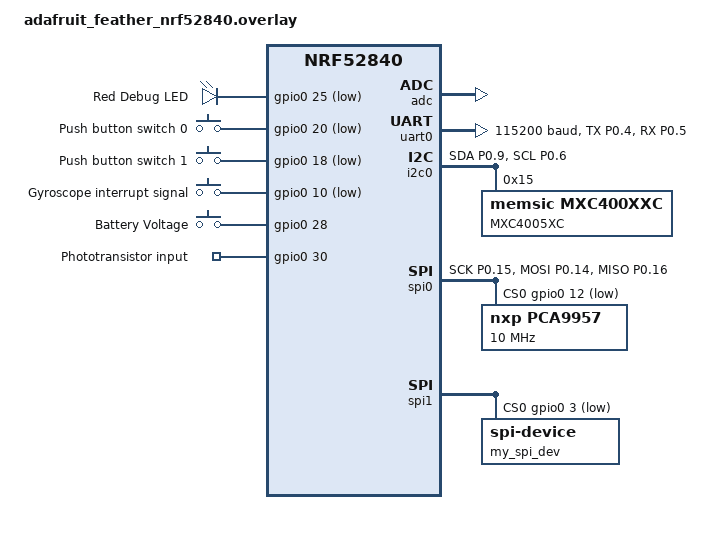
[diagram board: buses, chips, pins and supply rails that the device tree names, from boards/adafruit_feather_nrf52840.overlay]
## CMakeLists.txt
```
#
# Copyright (c) 2025 Simon Brenninger
# SPDX-License-Identifier: GPLv3
#

cmake_minimum_required(VERSION 3.20.0)

# add smartWatch board directory
list(APPEND BOARD_ROOT ${CMAKE_CURRENT_SOURCE_DIR})
message(${BOARD_ROOT})
set(BOARD smartWatch)
find_package(Zephyr REQUIRED HINTS $ENV{ZEPHYR_BASE})
project(smartWatchApp)

file(GLOB_RECURSE app_sources src/*.c)
target_sources(app PRIVATE ${app_sources})

set(CMAKE_EXPORT_COMPILE_COMMANDS ON)
```

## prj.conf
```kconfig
CONFIG_GPIO=y
CONFIG_ADC=y
CONFIG_ADC_ASYNC=y
CONFIG_NRFX_SAADC=y
CONFIG_ADC_NRFX_SAADC=y
CONFIG_I2C=y
CONFIG_SPI=y
CONFIG_COUNTER=y
#CONFIG_COUNTER_RTC0=y
CONFIG_CLOCK_CONTROL_NRF_K32SRC_XTAL=y
CONFIG_CLOCK_CONTROL_NRF_K32SRC_50PPM=y
CONFIG_LOG=y
CONFIG_PRINTK=y #y
CONFIG_TIMESLICING=n #y

CONFIG_SERIAL=y

# Power management
CONFIG_PM=n

# Interrupts

# Memory protection
#CONFIG_THREAD_STACK_INFO=n
CONFIG_THREAD_CUSTOM_DATA=n
CONFIG_FPU=n

# Boot
CONFIG_BOOT_BANNER=n
CONFIG_BOOT_DELAY=0

# Console
CONFIG_CONSOLE=y
CONFIG_UART_CONSOLE=y
CONFIG_STDOUT_CONSOLE=n
CONFIG_EARLY_CONSOLE=n

# Build
CONFIG_SIZE_OPTIMIZATIONS=y

# Multi-threading
CONFIG_NUM_PREEMPT_PRIORITIES=0
```

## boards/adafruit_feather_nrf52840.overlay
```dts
/* 
 * Copyright (c) 2023 Simon Brenninger
 *
 * SPDX-License-Identifier: GPLv3
 */

/ {
leds {
	compatible = "gpio-leds";
	led0: led0 {
		gpios = <&gpio0 25 GPIO_ACTIVE_LOW>;
		label = "Red Debug LED";
	};
};

buttons {
	compatible = "gpio-keys";
	btn0: btn0 {
		label = "Push button switch 0";
		gpios = <&gpio0 20 (GPIO_PULL_UP | GPIO_ACTIVE_LOW)>;
	};
	btn1: btn1 {
		label = "Push button switch 1";
		gpios = <&gpio0 18 (GPIO_ACTIVE_LOW)>;
	};
};

custom_pins {
	compatible = "gpio-keys";
	gyroint: gyroint {
		label = "Gyroscope interrupt signal";
		gpios = <&gpio0 10 (GPIO_ACTIVE_LOW)>;
	};
	batsens: batsens {
		label = "Battery Voltage";
		gpios = <&gpio0 28 (GPIO_ACTIVE_HIGH)>;
	};
	photo: photosens {
		label = "Phototransistor input";
		gpios = <&gpio0 30 (GPIO_ACTIVE_HIGH)>;
	};
};

aliases {
	led0 = &led0;
	sw0 = &btn0;
};
};

&adc {
	status = "okay";
};

&gpiote {
	status = "okay";
};

&gpio0 {
	status = "okay";
};

&uart0 {
	status = "okay";
	compatible = "nordic,nrf-uart";
	current-speed = <115200>;
	pinctrl-0 = <&uart0_default>;
	pinctrl-1 = <&uart0_sleep>;
	pinctrl-names = "default", "sleep";
};
 
&i2c0 {
	compatible = "nordic,nrf-twi";
	status = "okay";
	pinctrl-0 = <&i2c0_default>;
	pinctrl-1 = <&i2c0_sleep>;
	pinctrl-names = "default", "sleep";

	mxc400: mxc400@15 {
		compatible = "memsic,mxc400xxc";
		label = "MXC4005XC";
		reg = <0x15>;
	};
};

&spi0 {
	compatible = "nordic,nrf-spi";
	status = "okay";
	pinctrl-0 = <&spi0_default>;
	pinctrl-1 = <&spi0_sleep>;
	pinctrl-names = "default", "sleep";
	cs-gpios = <&gpio0 12 GPIO_ACTIVE_LOW>;
	
	pca9957: pca9957@0 {
		compatible = "nxp,pca9957";
		reg = <0>;
		spi-max-frequency = <10000000>;
	};
	
};



my_spi: &spi1 {
    compatible = "nordic,nrf-spi";
    status = "okay";
	pinctrl-0 = <&spi1_default>;
	pinctrl-1 = <&spi1_sleep>;
	cs-gpios = <&gpio0 3 GPIO_ACTIVE_LOW>;

	my_spi_dev: spi-device@0 {
		reg = <0>;
	};
};



&pinctrl {
	uart0_default: uart0_default {
		group1 {
			psels = <NRF_PSEL(UART_TX, 0, 4)>,
				<NRF_PSEL(UART_RX, 0, 5)>;
		};
	};

	uart0_sleep: uart0_sleep {
		group1 {
			psels = <NRF_PSEL(UART_TX, 0, 4)>,
				<NRF_PSEL(UART_RX, 0, 5)>;
			low-power-enable;
		};
	};

	i2c0_default: i2c0_default {
		group1 {
			psels = <NRF_PSEL(TWIM_SDA, 0, 9)>,
				<NRF_PSEL(TWIM_SCL, 0, 6)>;
		};
	};

	i2c0_sleep: i2c0_sleep {
		group1 {
			psels = <NRF_PSEL(TWIM_SDA, 0, 9)>,
				<NRF_PSEL(TWIM_SCL, 0, 6)>;
			low-power-enable;
		};
	};

	spi0_default: spi0_default {
		group1 {
			psels = <NRF_PSEL(SPIM_SCK, 0, 15)>,
				<NRF_PSEL(SPIM_MOSI, 0, 14)>,
				<NRF_PSEL(SPIM_MISO, 0, 16)>;
		};
	};

	spi0_sleep: spi0_sleep {
		group1 {
			psels = <NRF_PSEL(SPIM_SCK, 0, 15)>,
				<NRF_PSEL(SPIM_MOSI, 0, 14)>,
				<NRF_PSEL(SPIM_MISO, 0, 16)>;
			low-power-enable;
		};
	};
```

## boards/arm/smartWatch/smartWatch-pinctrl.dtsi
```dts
/*
 * Copyright (c) 2023 Simon Brenninger
 *
 * SPDX-License-Identifier: GPLv3
 */

&pinctrl {
	uart0_default: uart0_default {
		group1 {
			psels = <NRF_PSEL(UART_TX, 0, 4)>,
				<NRF_PSEL(UART_RX, 0, 5)>;
		};
	};

	uart0_sleep: uart0_sleep {
		group1 {
			psels = <NRF_PSEL(UART_TX, 0, 4)>,
				<NRF_PSEL(UART_RX, 0, 5)>;
			low-power-enable;
		};
	};

	i2c0_default: i2c0_default {
		group1 {
			psels = <NRF_PSEL(TWIM_SDA, 0, 9)>,
				<NRF_PSEL(TWIM_SCL, 0, 6)>;
		};
	};

	i2c0_sleep: i2c0_sleep {
		group1 {
			psels = <NRF_PSEL(TWIM_SDA, 0, 9)>,
				<NRF_PSEL(TWIM_SCL, 0, 6)>;
			low-power-enable;
		};
	};

	spi0_default: spi0_default {
		group1 {
			psels = <NRF_PSEL(SPIM_SCK, 0, 15)>,
				<NRF_PSEL(SPIM_MOSI, 0, 14)>,
				<NRF_PSEL(SPIM_MISO, 0, 16)>;
		};
	};

	spi0_sleep: spi0_sleep {
		group1 {
			psels = <NRF_PSEL(SPIM_SCK, 0, 15)>,
				<NRF_PSEL(SPIM_MOSI, 0, 14)>,
				<NRF_PSEL(SPIM_MISO, 0, 16)>;
			low-power-enable;
		};
	};

};
```

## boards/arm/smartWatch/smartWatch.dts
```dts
/*
 * Copyright (c) 2023 Simon Brenninger
 *
 * SPDX-License-Identifier: GPLv3
 */

/dts-v1/;
#include <nordic/nrf52810_qfaa.dtsi>
#include "smartWatch-pinctrl.dtsi"

/ {
	model = "smartWatch";
	compatible = "nordic,smartWatch";

	chosen {
		zephyr,console = &uart0;
		zephyr,shell-uart = &uart0;
		zephyr,uart-mcumgr = &uart0;
		zephyr,sram = &sram0;
		zephyr,flash = &flash0;
		zephyr,code-partition = &slot0_partition;
	};
 
	leds {
		compatible = "gpio-leds";
		led0: led0 {
			gpios = <&gpio0 25 GPIO_ACTIVE_LOW>;
			label = "Red Debug LED";
		};
	};

	buttons {
		compatible = "gpio-keys";
		btn0: btn0 {
			label = "Push button switch 0";
			gpios = <&gpio0 20 (GPIO_PULL_UP | GPIO_ACTIVE_LOW)>;
		};
		btn1: btn1 {
			label = "Push button switch 1";
			gpios = <&gpio0 18 (GPIO_ACTIVE_LOW)>;
		};
	};

	custom_pins {
		compatible = "gpio-keys";
		gyroint: gyroint {
			label = "Gyroscope interrupt signal";
			gpios = <&gpio0 10 (GPIO_ACTIVE_LOW)>;
		};
		batsens: batsens {
			label = "Battery Voltage";
			gpios = <&gpio0 28 (GPIO_ACTIVE_HIGH)>;
		};
		photo: photosens {
			label = "Phototransistor input";
			gpios = <&gpio0 30 (GPIO_ACTIVE_HIGH)>;
		};
	};

	aliases {
		led0 = &led0;
		sw0 = &btn0;
	};
};

&adc {
	status = "okay";
};

&gpiote {
	status = "okay";
};

&gpio0 {
	status = "okay";
};

&uart0 {
	status = "okay";
	compatible = "nordic,nrf-uart";
	current-speed = <115200>;
	pinctrl-0 = <&uart0_default>;
	pinctrl-1 = <&uart0_sleep>;
	pinctrl-names = "default", "sleep";
};
 
&i2c0 {
	compatible = "nordic,nrf-twi";
	status = "okay";
	pinctrl-0 = <&i2c0_default>;
	pinctrl-1 = <&i2c0_sleep>;
	pinctrl-names = "default", "sleep";

	mxc400: mxc400@15 {
		compatible = "memsic,mxc400xxc";
		label = "MXC4005XC";
		reg = <0x15>;
	};
};

&spi0 {
	compatible = "nordic,nrf-spi";
	status = "okay";
	pinctrl-0 = <&spi0_default>;
	pinctrl-1 = <&spi0_sleep>;
	pinctrl-names = "default", "sleep";
	cs-gpios = <&gpio0 12 GPIO_ACTIVE_LOW>;
	
	pca9957: pca9957@0 {
		compatible = "nxp,pca9957";
		reg = <0>;
		spi-max-frequency = <10000000>;
	};
	
};

&flash0 {
	/*
	 * For more information, see:
	 * http://docs.zephyrproject.org/latest/guides/dts/index.html#flash-partitions
	 */
	partitions {
		compatible = "fixed-partitions";
		#address-cells = <1>;
		#size-cells = <1>;

		boot_partition: partition@0 {
			label = "mcuboot";
			reg = <0x00000000 0xc000>;
		};
		slot0_partition: partition@c000 {
			label = "image-0";
			reg = <0x0000c000 0xe000>;
		};
		slot1_partition: partition@1a000 {
			label = "image-1";
			reg = <0x0001a000 0xe000>;
		};
		scratch_partition: partition@28000 {
			label = "image-scratch";
			reg = <0x00028000 0x4000>;
		};
		storage_partition: partition@2c000 {
			label = "storage";
			reg = <0x0002c000 0x00004000>;
		};
	};
};
```

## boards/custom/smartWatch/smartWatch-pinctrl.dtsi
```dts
/*
 * Copyright (c) 2025 Simon Brenninger
 * SPDX-License-Identifier: GPLv3
 */

&pinctrl {
	uart0_default: uart0_default {
		group1 {
			psels = <NRF_PSEL(UART_TX, 0, 4)>,
				<NRF_PSEL(UART_RX, 0, 5)>;
		};
	};

	uart0_sleep: uart0_sleep {
		group1 {
			psels = <NRF_PSEL(UART_TX, 0, 4)>,
				<NRF_PSEL(UART_RX, 0, 5)>;
			low-power-enable;
		};
	};

	i2c0_default: i2c0_default {
		group1 {
			psels = <NRF_PSEL(TWIM_SDA, 0, 9)>,
				<NRF_PSEL(TWIM_SCL, 0, 6)>;
		};
	};

	i2c0_sleep: i2c0_sleep {
		group1 {
			psels = <NRF_PSEL(TWIM_SDA, 0, 9)>,
				<NRF_PSEL(TWIM_SCL, 0, 6)>;
			low-power-enable;
		};
	};

	spi0_default: spi0_default {
		group1 {
			psels = <NRF_PSEL(SPIM_SCK, 0, 15)>,
				<NRF_PSEL(SPIM_MOSI, 0, 14)>,
				<NRF_PSEL(SPIM_MISO, 0, 16)>;
		};
	};

	spi0_sleep: spi0_sleep {
		group1 {
			psels = <NRF_PSEL(SPIM_SCK, 0, 15)>,
				<NRF_PSEL(SPIM_MOSI, 0, 14)>,
				<NRF_PSEL(SPIM_MISO, 0, 16)>;
			low-power-enable;
		};
	};

};
```

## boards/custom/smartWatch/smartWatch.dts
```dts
/*
 * Copyright (c) 2025 Simon Brenninger
 * SPDX-License-Identifier: GPLv3
 */

/dts-v1/;
#include <nordic/nrf52810_qfaa.dtsi>
#include "smartWatch-pinctrl.dtsi"
#include <zephyr/dt-bindings/input/input-event-codes.h>

/ {
	model = "smartWatch";
	compatible = "custom,smartWatch";

	chosen {
		zephyr,console = &uart0;
		zephyr,shell-uart = &uart0;
		zephyr,uart-mcumgr = &uart0;
		zephyr,bt-mon-uart = &uart0;
		zephyr,bt-c2h-uart = &uart0;
		zephyr,sram = &sram0;
		zephyr,flash = &flash0;
		zephyr,code-partition = &slot0_partition;
	};

	leds {
		compatible = "gpio-leds";
		led0: led_0 {
			gpios = <&gpio0 25 GPIO_ACTIVE_LOW>;
			label = "debug LED red";
		};
	};

	buttons {
		compatible = "gpio-keys";
		button0: button_0 {
			label = "Push button switch 0";
			gpios = <&gpio0 20 (GPIO_PULL_UP | GPIO_ACTIVE_LOW)>;
			zephyr,code = <INPUT_KEY_0>;
		};
		button1: button_1 {
			label = "Push button switch 1";
			gpios = <&gpio0 18 (GPIO_PULL_UP | GPIO_ACTIVE_LOW)>;
			zephyr,code = <INPUT_KEY_1>;
		};
	};

	custom_pins {
		compatible = "gpio-keys";
		gyroint: gyroint {
			label = "Gyroscope interrupt signal";
			gpios = <&gpio0 10 (GPIO_ACTIVE_LOW)>;
		};
		batsens: batsens {
			label = "Battery Voltage";
			gpios = <&gpio0 28 (GPIO_ACTIVE_HIGH)>;
		};
		photo: photosens {
			label = "Phototransistor input";
			gpios = <&gpio0 30 (GPIO_ACTIVE_HIGH)>;
		};
	};

	/* These aliases are provided for compatibility with samples */
	aliases {
		led0 = &led0;
		sw0 = &button0;
		sw1 = &button1;
		bootloader-led0 = &led0;
		mcuboot-button0 = &button0;
		mcuboot-led0 = &led0;
		watchdog0 = &wdt0;
	};
};

&reg {
	regulator-initial-mode = <NRF5X_REG_MODE_DCDC>;
};

&rtc0 {
	status = "okay";

	backup_regs {
		status = "okay";
	};
};

&adc {
	status = "okay";
};

&uicr {
	gpio-as-nreset;
};

&gpiote {
	status = "okay";
};

&gpio0 {
	status = "okay";
};

&uart0 {
	compatible = "nordic,nrf-uarte";
	status = "okay";
	current-speed = <115200>;
	pinctrl-0 = <&uart0_default>;
	pinctrl-1 = <&uart0_sleep>;
	pinctrl-names = "default", "sleep";
};

&i2c0 {
	compatible = "nordic,nrf-twi";
	status = "okay";
	pinctrl-0 = <&i2c0_default>;
	pinctrl-1 = <&i2c0_sleep>;
	pinctrl-names = "default", "sleep";

	mxc400: mxc400@15 {
		compatible = "memsic,mxc400xxc";
		label = "MXC4005XC";
		reg = <0x15>;
	};
};

&spi0 {
	compatible = "nordic,nrf-spi";
	status = "okay";
	pinctrl-0 = <&spi0_default>;
	pinctrl-1 = <&spi0_sleep>;
	pinctrl-names = "default", "sleep";
	cs-gpios = <&gpio0 12 GPIO_ACTIVE_LOW>;

	pca9957: pca9957@0 {
		compatible = "nxp,pca9957";
		reg = <0>;
		spi-max-frequency = <10000000>;
	};
};

&flash0 {

	partitions {
		compatible = "fixed-partitions";
		#address-cells = <1>;
		#size-cells = <1>;

		boot_partition: partition@0 {
			label = "mcuboot";
			reg = <0x00000000 0xc000>;
		};
		slot0_partition: partition@c000 {
			label = "image-0";
			reg = <0x0000C000 0xe000>;
		};
		slot1_partition: partition@1a000 {
			label = "image-1";
			reg = <0x0001a000 0xe000>;
		};
		storage_partition: partition@28000 {
			label = "storage";
			reg = <0x00028000 0x00008000>;
		};
	};
};
```

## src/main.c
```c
/*
 * Copyright (c) 2025 Simon Brenninger
 * SPDX-License-Identifier: GPLv3
 */

#include <zephyr/kernel.h>
#include <zephyr/kernel/thread.h>
#include <zephyr/logging/log.h>
#include "lib/lib.h"

LOG_MODULE_REGISTER(SmartWatchDemo, LOG_LEVEL);

///*
K_THREAD_STACK_DEFINE(pca9957_stack, THREAD_STACK_SIZE);
K_THREAD_STACK_DEFINE(mxc400c_stack, THREAD_STACK_SIZE);
K_THREAD_STACK_DEFINE(rtc_stack, THREAD_STACK_SIZE);

k_tid_t pca9957_tid;
k_tid_t mxc400_tid;
k_tid_t adc_tid;
k_tid_t rtc_tid;

struct k_thread pca9957_thread_data;
struct k_thread mxc400_thread_data;
struct k_thread rtc_thread_data;
//*/


/**
 * @brief main thread
 */

int main(void)
{
	int ret;
	LOG_DBG("SmartWatch main thread");

	///*
	ret = gpio_init();
	ret |= adc_init();

	if(ret) {
		LOG_ERR("Error initializing periphs");
	} else {
		LOG_DBG("peripherals initialized");
		
		pca9957_tid = k_thread_create(&pca9957_thread_data, pca9957_stack,
									  K_THREAD_STACK_SIZEOF(pca9957_stack),
									  pca9957_thread,
									  NULL, NULL, NULL,
									  6, 0, K_NO_WAIT);
		
		mxc400_tid = k_thread_create(&mxc400_thread_data, mxc400c_stack,
									 K_THREAD_STACK_SIZEOF(mxc400c_stack),
									 mxc400_thread,
									 NULL, NULL, NULL,
									 6, 0, K_NO_WAIT);

		rtc_tid = k_thread_create(&rtc_thread_data, rtc_stack,
								  K_THREAD_STACK_SIZEOF(rtc_stack),
								  rtc_thread,
								  NULL, NULL, NULL,
								  5, 0, K_NO_WAIT);
	}
	//*/
	return 0;
}

/* 
 * application structure:
 * reset:
 * init peripherals
 * create threads:
 * - pca9957 thread:
 * 		init led driver
 * 		suspend and wait for notifications
 * 		when notified:
 * 			get brightness level
 * 			perform notified task
 * 			suspend
 * - mxc400 thread:
 * 		init interrupt callback
 * 		return
 * 		- callback:
 * 			reset pending interrupt flags
 * 			notify led driver to perform task
 * 			return
 * - rtc thread:
 * 		init rtc
 * 		init time
 * 		add timer callback (every sec)
 * 		return
 * 		callback:
 * 			update time
 * 			return
 *
 */
```
